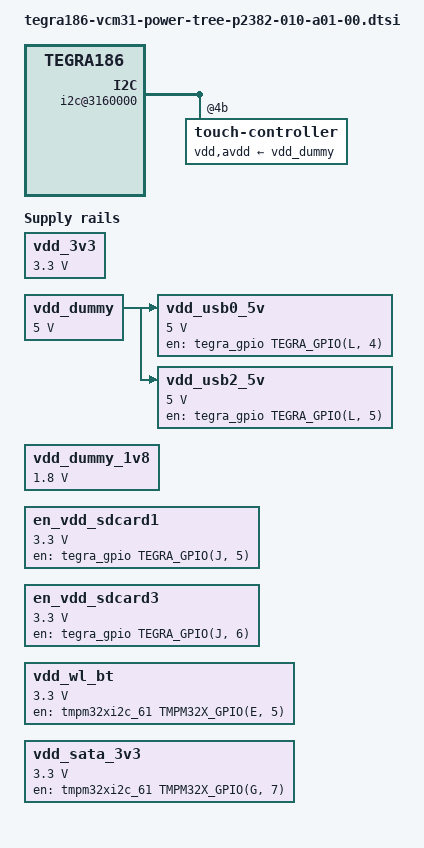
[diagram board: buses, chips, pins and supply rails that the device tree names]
/*
 * Copyright (c) 2015 - 2016, NVIDIA CORPORATION.  All rights reserved.
 *
 * This program is free software; you can redistribute it and/or modify
 * it under the terms of the GNU General Public License as published by
 * the Free Software Foundation; either version 2 of the License, or
 * (at your option) any later version.
 *
 * This program is distributed in the hope that it will be useful, but WITHOUT
 * ANY WARRANTY; without even the implied warranty of MERCHANTABILITY or
 * FITNESS FOR A PARTICULAR PURPOSE.  See the GNU General Public License for
 * more details.
 */

#include "tegra186-platforms/tegra186-vcm31-spmic-p2382-010-a01-00.dtsi"

/ {
	ether_qos@2490000 {
		vddio_sys_enet_bias-supply = <&vdd_dummy_1v8>;
		vddio_enet-supply = <&vdd_3v3>;
		phy_vdd_1v8-supply = <&vdd_dummy_1v8>;
		phy_ovdd_rgmii-supply = <&vdd_dummy>;
		phy_pllvdd-supply = <&vdd_dummy>;
	};

        host1x {
		nvdisplay@15200000 {
			vdd_hdmi_5v0-supply = <&vdd_dummy>;
			vdd-dp-pad-supply = <&vdd_dummy_1v8>;
			vdd-edp-sec-mode-supply = <&vdd_dummy_1v8>;
			vdd-dp-pwr-supply = <&vdd_dummy>;
			avdd-dp-pll-supply = <&vdd_dummy>;
			avdd_dsi_csi-supply = <&vdd_dummy>;
		};
		nvdisplay@15210000 {
			vdd_hdmi_5v0-supply = <&vdd_dummy>;
			vdd-dp-pad-supply = <&vdd_dummy_1v8>;
			vdd-edp-sec-mode-supply = <&vdd_dummy_1v8>;
			vdd-dp-pwr-supply = <&vdd_dummy>;
			avdd-dp-pll-supply = <&vdd_dummy>;
			avdd_dsi_csi-supply = <&vdd_dummy>;
		};
		nvcsi@150c0000 {
			nvidia,csi_regulator = "dummy";
			dummy-supply = <&vdd_dummy>;
		};
        };

	sdhci@3460000 { /* SDMMC_D/4 */
		vddio_sdmmc-supply = <&vdd_dummy_1v8>;
	};

	sdhci@3440000 {
		vddio_sdmmc-supply = <&spmic_ldo5>;
		vddio_sd_slot-supply = <&en_vdd_sdcard3>;
	};

	sdhci@3400000 {
		vddio_sdmmc-supply = <&spmic_ldo3>;
		vddio_sd_slot-supply = <&en_vdd_sdcard1>;
	};

	xhci@3530000 {
		avddio_usb-supply = <&vdd_dummy>;
		avdd_pll_utmip-supply = <&vdd_dummy>;
		hvdd_usb-supply =  <&vdd_dummy>;
	};

	xudc@3550000 {
		avdd-usb-supply = <&vdd_dummy>;
		dvdd-pex-supply = <&vdd_dummy>;
		hvdd-pex-supply =  <&vdd_dummy>;
		dvdd-pex-pll-supply = <&vdd_dummy>;
		hvdd-pex-pll-supply = <&vdd_dummy>;
	};

	pcie-controller@10003000 {
		dvdd-pex-supply = <&vdd_dummy>;
		hvdd-pex-pll-supply = <&vdd_dummy>;
		hvdd-pex-supply = <&vdd_dummy>;
		vddio-pexctl-aud-supply = <&vdd_dummy>;
	};

	ahci-sata@3507000 {
		target-3v3-supply = <&vdd_sata_3v3>;
	};

	pinctrl@3520000 {
		vbus-0-supply = <&vdd_usb0_5v>;
		vbus-1-supply = <&vdd_dummy>;
		vbus-2-supply = <&vdd_usb2_5v>;
		vbus-3-supply = <&vdd_dummy>;
		vddio-hsic-supply = <&vdd_dummy>;
		hvdd_pex_pll-supply = <&vdd_dummy>;
		hvdd_pex-supply = <&vdd_dummy>;
		dvdd_pex-supply = <&vdd_dummy>;
		avdd_usb-supply = <&vdd_dummy>;
		vclamp_usb-supply = <&vdd_dummy>;
		avdd_pll_erefeut-supply = <&vdd_dummy>;
	};

	i2c@3160000 { /* Tegra I2C1 - VCM I2CA */
		touch-controller@4b {
			vdd-supply = <&vdd_dummy>;
			avdd-supply = <&vdd_dummy>;
		};
	};

	fixed-regulators {
		vdd_3v3: regulator@0 {
			compatible = "regulator-fixed-sync";
			reg = <0>;
			regulator-name = "vdd-3v3";
			regulator-min-microvolt = <3300000>;
			regulator-max-microvolt = <3300000>;
			regulator-always-on;
		};

		vdd_dummy: regulator@2 {
			compatible = "regulator-fixed";
			reg = <2>;
			regulator-name = "vdd_dummy";
			regulator-min-microvolt = <5000000>;
			regulator-max-microvolt = <5000000>;
			regulator-always-on;
		};

		vdd_dummy_1v8: regulator@3 {
			compatible = "regulator-fixed";
			reg = <3>;
			regulator-name = "vdd_dummy_1v8";
			regulator-min-microvolt = <1800000>;
			regulator-max-microvolt = <1800000>;
			regulator-always-on;
		};

		en_vdd_sdcard1: regulator@4 {
			compatible = "regulator-fixed-sync";
			reg = <4>;
			regulator-name = "en-vdd-sdcard1";
			regulator-min-microvolt = <3300000>;
			regulator-max-microvolt = <3300000>;
			gpio = <&tegra_gpio TEGRA_GPIO(J, 5) 0>;
			regulator-enable-ramp-delay = <5400>;
			regulator-disable-ramp-delay = <1000000>;
			enable-active-high;
		};

		en_vdd_sdcard3: regulator@5 {
			compatible = "regulator-fixed-sync";
			reg = <5>;
			regulator-name = "en-vdd-sdcard3";
			regulator-min-microvolt = <3300000>;
			regulator-max-microvolt = <3300000>;
			gpio = <&tegra_gpio TEGRA_GPIO(J, 6) 0>;
			regulator-enable-ramp-delay = <6000>;
			regulator-disable-ramp-delay = <1000000>;
			enable-active-high;
		};

		vdd_wl_bt: regulator@6 {
			compatible = "regulator-fixed-sync";
			reg = <6>;
			gpio = <&tmpm32xi2c_61 TMPM32X_GPIO(E, 5) 0>;
			regulator-name = "vdd_wl_bt";
			regulator-min-microvolt = <3300000>;
			regulator-max-microvolt = <3300000>;
			enable-active-high;
			regulator-enable-ramp-delay = <6400>;
			regulator-disable-ramp-delay = <66400>;
			regulator-always-on;
		};

		vdd_usb0_5v: regulator@7 {
			compatible = "regulator-fixed";
			reg = <7>;
			regulator-name = "vdd-usb0-5v";
			regulator-min-microvolt = <5000000>;
			regulator-max-microvolt = <5000000>;
			gpio = <&tegra_gpio TEGRA_GPIO(L, 4) 0>;
			regulator-enable-ramp-delay = <19000>;
			regulator-disable-ramp-delay = <100000>;
			enable-active-high;
			gpio-open-drain;
			vin-supply = <&vdd_dummy>;
		};

		vdd_usb2_5v: regulator@8 {
			compatible = "regulator-fixed";
			reg = <8>;
			regulator-name = "vdd-usb2-5v";
			regulator-min-microvolt = <5000000>;
			regulator-max-microvolt = <5000000>;
			gpio = <&tegra_gpio TEGRA_GPIO(L, 5) 0>;
			enable-active-high;
			gpio-open-drain;
			vin-supply = <&vdd_dummy>;
		};

		vdd_sata_3v3: regulator@9 {
			compatible = "regulator-fixed";
			reg = <9>;
			regulator-name = "vdd-sata-3v3";
			gpio = <&tmpm32xi2c_61 TMPM32X_GPIO(G, 7) 0>;
			regulator-min-microvolt = <3300000>;
			regulator-max-microvolt = <3300000>;
			regulator-enable-ramp-delay = <6300>;
			regulator-disable-ramp-delay = <132000>;
			enable-active-high;
		};
	};
};
